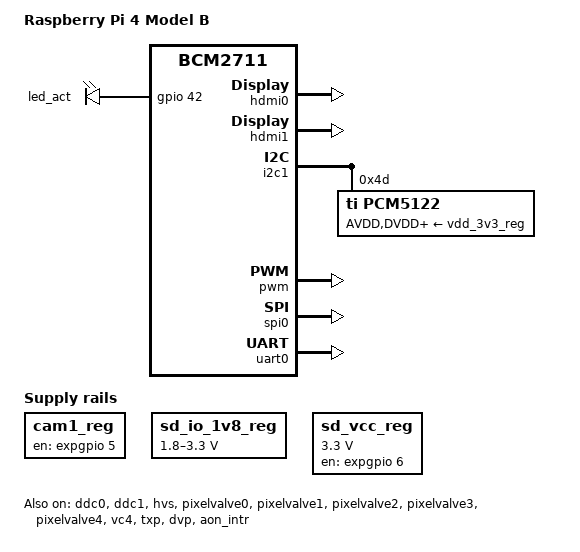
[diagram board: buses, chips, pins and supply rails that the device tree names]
// This is the new, merged DTS file
// Save this as 'bcm2711-rpi-4-model-b-custom.dts'

#include "bcm2711-rpi.dtsi"
#include "bcm283x-rpi-led-deprecated.dtsi"
#include "bcm283x-rpi-usb-peripheral.dtsi"
#include "bcm283x-rpi-wifi-bt.dtsi"
#include <dt-bindings/leds/common.h>
#include <dt-bindings/gpio/gpio.h>
#include <dt-bindings/clock/bcm2835.h>

/ {
    compatible = "raspberrypi,4-model-b", "brcm,bcm2711";
    model = "Raspberry Pi 4 Model B";

    chosen {
        stdout-path = "serial1:115200n8";
    };

    cam1_reg: regulator-cam1 {
        compatible = "regulator-fixed";
        regulator-name = "cam1-reg";
        enable-active-high;
        gpio = <&expgpio 5 GPIO_ACTIVE_HIGH>;
    };

    sd_io_1v8_reg: regulator-sd-io-1v8 {
        compatible = "regulator-gpio";
        regulator-name = "vdd-sd-io";
        regulator-min-microvolt = <1800000>;
        regulator-max-microvolt = <3300000>;
        regulator-boot-on;
        regulator-always-on;
        regulator-settling-time-us = <5000>;
        gpios = <&expgpio 4 GPIO_ACTIVE_HIGH>;
        states = <1800000 0x1>,
                 <3300000 0x0>;
        status = "okay";
    };

    sd_vcc_reg: regulator-sd-vcc {
        compatible = "regulator-fixed";
        regulator-name = "vcc-sd";
        regulator-min-microvolt = <3300000>;
        regulator-max-microvolt = <3300000>;
        regulator-boot-on;
        enable-active-high;
        gpio = <&expgpio 6 GPIO_ACTIVE_HIGH>;
    };
    
    // Nodes from hifiberry-dacplus-overlay.dts
    dacpro_osc: dacpro_osc {
        compatible = "hifiberry,dacpro-clk";
        #clock-cells = <0>;
    };
};

// All the nodes below are directly from the overlays
&bt {
    shutdown-gpios = <&expgpio 0 GPIO_ACTIVE_HIGH>;
    // Change from miniuart-bt-overlay.dts to disable the internal BT
    status = "disabled"; 
};

// Node from vc4-kms-v3d-pi4-overlay.dts
&ddc0 {
    status = "okay";
};

// Node from vc4-kms-v3d-pi4-overlay.dts and i2c1-overlay.dts
&ddc1 {
    status = "okay";
};

&expgpio {
    gpio-line-names = "BT_ON",
                      "WL_ON",
                      "PWR_LED_OFF",
                      "GLOBAL_RESET",
                      "VDD_SD_IO_SEL",
                      "CAM_GPIO",
                      "SD_PWR_ON",
                      "";
};

// Merged node with changes from multiple overlays
&gpio {
    gpio-line-names = "ID_SDA",
                      "ID_SCL",
                      "SDA1",
                      "SCL1",
                      "GPIO_GCLK",
                      "GPIO5",
                      "GPIO6",
                      "SPI_CE1_N",
                      "SPI_CE0_N", // Retain this for SPI, but CS is defined on another pin
                      "SPI_MISO",
                      "SPI_MOSI",
                      "SPI_SCLK",
                      "GPIO12",
                      "GPIO13",
                      "TXD1",
                      "RXD1",
                      "GPIO16",
                      "GPIO17",
                      "GPIO18",
                      "GPIO19",
                      "GPIO20",
                      "GPIO21",
                      "GPIO22",
                      "GPIO23",
                      "GPIO24",
                      "GPIO25",
                      "GPIO26",
                      "GPIO27",
                      "RGMII_MDIO",
                      "RGMIO_MDC",
                      "CTS0",
                      "RTS0",
                      "TXD0",
                      "RXD0",
                      "SD1_CLK",
                      "SD1_CMD",
                      "SD1_DATA0",
                      "SD1_DATA1",
                      "SD1_DATA2",
                      "SD1_DATA3",
                      "PWM0_MISO",
                      "PWM1_MOSI",
                      "STATUS_LED_G_CLK",
                      "SPIFLASH_CE_N",
                      "SDA0",
                      "SCL0",
                      "RGMII_RXCLK",
                      "RGMII_RXCTL",
                      "RGMII_RXD0",
                      "RGMII_RXD1",
                      "RGMII_RXD2",
                      "RGMII_RXD3",
                      "RGMII_TXCLK",
                      "RGMII_TXCTL",
                      "RGMII_TXD0",
                      "RGMII_TXD1",
                      "RGMII_TXD2",
                      "RGMII_TXD3";
    
    // Pin configurations from overlays
    i2c1_pins: i2c1_pins {
        brcm,pins = <2 3>;
        brcm,function = <4>; /* alt0 */
    };
    
    pwm_pins: pwm_pins {
        brcm,pins = <18>;
        brcm,function = <2>; /* Alt5 */
    };
    
    uart0_pins: uart0_ovl_pins {
        brcm,pins = <14 15>;
        brcm,function = <4>; /* alt0 */
        brcm,pull = <0 2>;
    };
};

// Nodes from vc4-kms-v3d-pi4-overlay.dts
&hdmi0 {
    status = "okay";
};

&hdmi1 {
    status = "okay";
};

&led_act {
    gpios = <&gpio 42 GPIO_ACTIVE_HIGH>;
};

// Node from vc4-kms-v3d-pi4-overlay.dts
&hvs {
    status = "okay";
};

// Node from i2c1-overlay.dts
&i2c1 {
    status = "okay";
    pinctrl-names = "default";
    pinctrl-0 = <&i2c1_pins>;
    
    // Node from hifiberry-dacplus-overlay.dts
    pcm5122@4d {
        compatible = "ti,pcm5122";
        reg = <0x4d>;
        clocks = <&dacpro_osc>;
        AVDD-supply = <&vdd_3v3_reg>;
        DVDD-supply = <&vdd_3v3_reg>;
        CPVDD-supply = <&vdd_3v3_reg>;
        status = "okay";
    };
};

// Node from vc4-kms-v3d-pi4-overlay.dts
&i2s_clk_consumer {
    status = "okay";
};

// Node from vc4-kms-v3d-pi4-overlay.dts
&pixelvalve0 {
    status = "okay";
};

&pixelvalve1 {
    status = "okay";
};

&pixelvalve2 {
    status = "okay";
};

&pixelvalve3 {
    status = "okay";
};

&pixelvalve4 {
    status = "okay";
};

// Node from pwm-overlay.dts
&pwm {
    pinctrl-names = "default";
    pinctrl-0 = <&pwm_pins>;
    status = "okay";
};

// Node from spi0-1cs-inverted-overlay.dts
&spi0 {
    status = "okay";
    cs-gpios = <&gpio 8 GPIO_ACTIVE_HIGH>; // Inverted CS
};

// Node from hifiberry-dacplus-overlay.dts
&sound {
    compatible = "hifiberry,hifiberry-dacplus";
    i2s-controller = <&i2s_clk_consumer>;
    status = "okay";
};

// Node from uart0-overlay.dts
&uart0 {
    status = "okay";
    pinctrl-names = "default";
    pinctrl-0 = <&uart0_pins>;
};

// Node from vc4-kms-v3d-pi4-overlay.dts
&vc4 {
    status = "okay";
};

// Node from vc4-kms-v3d-pi4-overlay.dts
&txp {
    status = "okay";
};

// Node from vc4-kms-v3d-pi4-overlay.dts
&dvp {
    status = "okay";
};

// Node from vc4-kms-v3d-pi4-overlay.dts
&aon_intr {
    status = "okay";
};

// Node from spi0-1cs-inverted-overlay.dts
&spidev0 {
    spi-cs-high;
};
